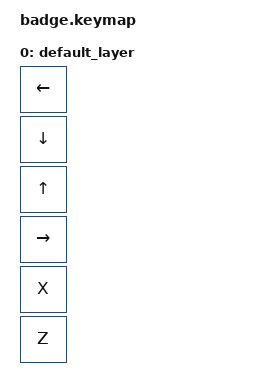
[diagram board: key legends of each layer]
#include <behaviors.dtsi>
#include <dt-bindings/zmk/keys.h>

/ {
    keymap {
        compatible = "zmk,keymap";

        default_layer { // Layer 0

            bindings = <
                &kp LEFT
                &kp DOWN
                &kp UP
                &kp RIGHT    
                &kp X
                &kp Z
            >;
        };
    };
 };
